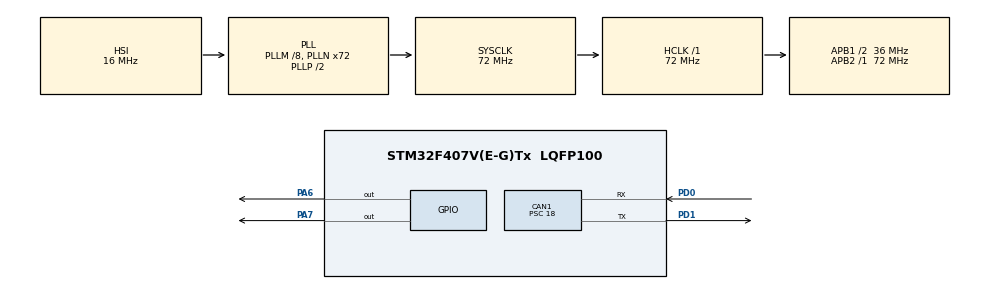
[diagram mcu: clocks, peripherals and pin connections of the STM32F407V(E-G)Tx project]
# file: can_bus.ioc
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CAN1.BS2=CAN_BS2_2TQ
CAN1.CalculateBaudRate=500000
CAN1.CalculateTimeBit=2000
CAN1.CalculateTimeQuantum=500.0
CAN1.Mode=CAN_MODE_LOOPBACK
CAN1.Prescaler=18
Mcu.Family=STM32F4
Mcu.Name=STM32F407V(E-G)Tx
Mcu.Package=LQFP100
NVIC.CAN1_RX0_IRQn=true\:0\:0\:false\:false\:true\:true\:true\:true
NVIC.PriorityGroup=NVIC_PRIORITYGROUP_4
PA6.Signal=GPIO_Output
PA7.Signal=GPIO_Output
PD0.Mode=CAN_Activate
PD0.Signal=CAN1_RX
PD1.Mode=CAN_Activate
PD1.Signal=CAN1_TX
PH0-OSC_IN.Mode=HSE-External-Oscillator
PH0-OSC_IN.Signal=RCC_OSC_IN
PH1-OSC_OUT.Mode=HSE-External-Oscillator
PH1-OSC_OUT.Signal=RCC_OSC_OUT
ProjectManager.HeapSize=0x200
ProjectManager.StackSize=0x400
ProjectManager.TargetToolchain=STM32CubeIDE
RCC.48MHZClocksFreq_Value=36000000
RCC.AHBFreq_Value=72000000
RCC.APB1CLKDivider=RCC_HCLK_DIV2
RCC.APB1Freq_Value=36000000
RCC.APB1TimFreq_Value=72000000
RCC.APB2Freq_Value=72000000
RCC.APB2TimFreq_Value=72000000
RCC.CortexFreq_Value=72000000
RCC.HCLKFreq_Value=72000000
RCC.HSE_VALUE=25000000
RCC.HSI_VALUE=16000000
RCC.LSE_VALUE=32768
RCC.PLLM=8
RCC.PLLN=72
RCC.SYSCLKFreq_VALUE=72000000
RCC.SYSCLKSource=RCC_SYSCLKSOURCE_PLLCLK
RCC.VCOOutputFreq_Value=144000000
board=custom

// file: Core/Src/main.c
/* USER CODE BEGIN Header */
/**
 ******************************************************************************
 * @file           : main.c
 * @brief          : Main program body
 ******************************************************************************
 * @attention
 *
 * Copyright (c) 2025 STMicroelectronics.
 * All rights reserved.
 *
 * This software is licensed under terms that can be found in the LICENSE file
 * in the root directory of this software component.
 * If no LICENSE file comes with this software, it is provided AS-IS.
 *
 ******************************************************************************
 */
/* USER CODE END Header */
#include "main.h"

CAN_HandleTypeDef hcan1;

/* USER CODE BEGIN PV */
uint8_t RxData[8];
CAN_RxHeaderTypeDef RxHeader;
uint8_t TxData[8];
CAN_TxHeaderTypeDef TxHeader;

/* USER CODE END PV */

void SystemClock_Config(void);
static void MX_GPIO_Init(void);
static void MX_CAN1_Init(void);

/* USER CODE BEGIN 0 */
//CAN_TxHeaderTypeDef TxHeader;
//
//
//uint32_t TxMailBox[4];
//uint8_t TxData[8];
//uint8_t RxData[8];
//CAN_RxHeaderTypeDef RxHeader;
//
//uint8_t count = 0;
//uint8_t a[10] = {0};
//void HAL_CANRxFifo0MsgPendingCallback(CAN_HandleTypeDef *hcan){
//	HAL_CAN_GetRxMessage(hcan, CAN_RX_FIFO0, &RxHeader, RxData);
//	count++;
//}

/* USER CODE END 0 */

int main(void)
{

  /* MCU Configuration--------------------------------------------------------*/

  /* Reset of all peripherals, Initializes the Flash interface and the Systick. */
  HAL_Init();

  /* USER CODE BEGIN Init */
	//  a[0] = 0;
  /* USER CODE END Init */

  /* Configure the system clock */
  SystemClock_Config();

  /* Initialize all configured peripherals */
  MX_GPIO_Init();
  MX_CAN1_Init();
  /* USER CODE BEGIN 2 */
	//  HAL_CAN_Start(&hcan1);
	//  HAL_CAN_ActivateNotification(&hcan1, CAN_IT_RX_FIFO0_MSG_PENDING);
	//  TxHeader.DLC = 1;
	//  TxHeader.ExtId = 0;
	//  TxHeader.IDE = CAN_ID_STD;
	//  TxHeader.RTR = CAN_RTR_DATA;
	//  TxHeader.StdId = 0x111;
	//  TxHeader.TransmitGlobalTime = DISABLE;
	//
	//  TxData[0] = 0x01;
	//  TxData[1] = 0x02;
	//  TxData[2] = 0x03;
	//  TxData[3] = 0x04;
	//
	//
	//
	//  if(HAL_CAN_AddTxMessage(&hcan1, &TxHeader, &TxData[0], &TxMailBox[0]) != HAL_OK){
	//	  Error_Handler();
	//  }
	//  if(HAL_CAN_AddTxMessage(&hcan1, &TxHeader, &TxData[1], &TxMailBox[1]) != HAL_OK){
	//  	  Error_Handler();
	//    }
	//  if(HAL_CAN_AddTxMessage(&hcan1, &TxHeader, &TxData[2], &TxMailBox[2]) != HAL_OK){
	//  	  Error_Handler();
	//    }
	//  if(HAL_CAN_AddTxMessage(&hcan1, &TxHeader, &TxData[3], &TxMailBox[3]) != HAL_OK){
	//  	  Error_Handler();
	//    }
	//
	//  CAN_FilterTypeDef canfilterconfig;
	//  canfilterconfig.FilterActivation = CAN_FILTER_ENABLE;
	//  canfilterconfig.FilterBank = 10;
	//  canfilterconfig.FilterFIFOAssignment = CAN_RX_FIFO0;
	//  canfilterconfig.FilterIdHigh = 0x103<<5;
	//  canfilterconfig.FilterIdLow = 0x0000;
	//  canfilterconfig.FilterMaskIdHigh = 0x1<<13;
	//  canfilterconfig.FilterMaskIdLow = 0x0000;
	//  canfilterconfig.FilterMode = CAN_FILTERMODE_IDMASK;
	//  canfilterconfig.FilterScale = CAN_FILTERSCALE_32BIT;
	//  canfilterconfig.SlaveStartFilterBank = 13;
	//
	//  HAL_CAN_ConfigFilter(&hcan1, &canfilterconfig);
	//
	//
	//
	//  HAL_CAN_Stop(&hcan1);

	  if(HAL_CAN_Start(&hcan1) != HAL_OK)
		  Error_Handler();

	  if(HAL_CAN_ActivateNotification(&hcan1, CAN_IT_RX_FIFO0_MSG_PENDING) != HAL_OK)
		  Error_Handler();

	  uint32_t TxMailBoxNum;

	  TxData[0] = 'X';

	  TxHeader.DLC = 1;
	  TxHeader.RTR = CAN_RTR_DATA;
	  TxHeader.IDE = CAN_ID_STD;
	  TxHeader.ExtId = 0x00;
	  TxHeader.StdId = 0x0AD;
	  TxHeader.TransmitGlobalTime = DISABLE;

	  if(HAL_CAN_AddTxMessage(&hcan1, &TxHeader, TxData, &TxMailBoxNum) != HAL_OK)
		  Error_Handler();

	  TxData[0] = 'D';
	  TxData[1] = 'E';
	  TxData[2] = 'S';
	  TxData[3] = 'D';

	  TxHeader.DLC = 4;
	  TxHeader.RTR = CAN_RTR_DATA;
	  TxHeader.IDE = CAN_ID_STD;
	  TxHeader.ExtId = 0x00;
	  TxHeader.StdId = 0x0AF;
	  TxHeader.TransmitGlobalTime = DISABLE;

	  if(HAL_CAN_AddTxMessage(&hcan1, &TxHeader, TxData, &TxMailBoxNum) != HAL_OK)
		  Error_Handler();

	  TxData[0] = 'S';
	  TxData[1] = 'U';
	  TxData[2] = 'N';
	  TxData[3] = 'B';
	  TxData[4] = 'E';
	  TxData[5] = 'A';
	  TxData[6] = 'M';

	  TxHeader.DLC = 7;
	  TxHeader.RTR = CAN_RTR_DATA;
	  TxHeader.IDE = CAN_ID_STD;
	  TxHeader.ExtId = 0x00;
	  TxHeader.StdId = 0x0AB;
	  TxHeader.TransmitGlobalTime = DISABLE;

	  if(HAL_CAN_AddTxMessage(&hcan1, &TxHeader, TxData, &TxMailBoxNum) != HAL_OK)
		  Error_Handler();

  /* USER CODE END 2 */

  /* Infinite loop */
	while (1)
	{

    /* USER CODE BEGIN 3 */
//		HAL_GPIO_WritePin(GPIOD, GPIO_PIN_14, GPIO_PIN_SET);
//		HAL_Delay(1000);
//		HAL_GPIO_WritePin(GPIOD, GPIO_PIN_14, GPIO_PIN_RESET);
//		HAL_Delay(1000);
//		HAL_GPIO_WritePin(GPIOA, GPIO_PIN_7, GPIO_PIN_SET);
//		HAL_Delay(1000);
//		HAL_GPIO_WritePin(GPIOA, GPIO_PIN_7, GPIO_PIN_RESET);
//		HAL_Delay(1000);

	}
  /* USER CODE END 3 */
}

void SystemClock_Config(void)
{
  RCC_OscInitTypeDef RCC_OscInitStruct = {0};
  RCC_ClkInitTypeDef RCC_ClkInitStruct = {0};

  /** Configure the main internal regulator output voltage
  */
  __HAL_RCC_PWR_CLK_ENABLE();
  __HAL_PWR_VOLTAGESCALING_CONFIG(PWR_REGULATOR_VOLTAGE_SCALE1);

  /** Initializes the RCC Oscillators according to the specified parameters
  * in the RCC_OscInitTypeDef structure.
  */
  RCC_OscInitStruct.OscillatorType = RCC_OSCILLATORTYPE_HSI;
  RCC_OscInitStruct.HSIState = RCC_HSI_ON;
  RCC_OscInitStruct.HSICalibrationValue = RCC_HSICALIBRATION_DEFAULT;
  RCC_OscInitStruct.PLL.PLLState = RCC_PLL_ON;
  RCC_OscInitStruct.PLL.PLLSource = RCC_PLLSOURCE_HSI;
  RCC_OscInitStruct.PLL.PLLM = 8;
  RCC_OscInitStruct.PLL.PLLN = 72;
  RCC_OscInitStruct.PLL.PLLP = RCC_PLLP_DIV2;
  RCC_OscInitStruct.PLL.PLLQ = 4;
  if (HAL_RCC_OscConfig(&RCC_OscInitStruct) != HAL_OK)
  {
    Error_Handler();
  }

  /** Initializes the CPU, AHB and APB buses clocks
  */
  RCC_ClkInitStruct.ClockType = RCC_CLOCKTYPE_HCLK|RCC_CLOCKTYPE_SYSCLK
                              |RCC_CLOCKTYPE_PCLK1|RCC_CLOCKTYPE_PCLK2;
  RCC_ClkInitStruct.SYSCLKSource = RCC_SYSCLKSOURCE_PLLCLK;
  RCC_ClkInitStruct.AHBCLKDivider = RCC_SYSCLK_DIV1;
  RCC_ClkInitStruct.APB1CLKDivider = RCC_HCLK_DIV2;
  RCC_ClkInitStruct.APB2CLKDivider = RCC_HCLK_DIV1;

  if (HAL_RCC_ClockConfig(&RCC_ClkInitStruct, FLASH_LATENCY_2) != HAL_OK)
  {
    Error_Handler();
  }
}

static void MX_CAN1_Init(void)
{

  hcan1.Instance = CAN1;
  hcan1.Init.Prescaler = 18;
  hcan1.Init.Mode = CAN_MODE_LOOPBACK;
  hcan1.Init.SyncJumpWidth = CAN_SJW_1TQ;
  hcan1.Init.TimeSeg1 = CAN_BS1_1TQ;
  hcan1.Init.TimeSeg2 = CAN_BS2_2TQ;
  hcan1.Init.TimeTriggeredMode = DISABLE;
  hcan1.Init.AutoBusOff = DISABLE;
  hcan1.Init.AutoWakeUp = DISABLE;
  hcan1.Init.AutoRetransmission = DISABLE;
  hcan1.Init.ReceiveFifoLocked = DISABLE;
  hcan1.Init.TransmitFifoPriority = DISABLE;
  if (HAL_CAN_Init(&hcan1) != HAL_OK)
  {
    Error_Handler();
  }

}

static void MX_GPIO_Init(void)
{
  GPIO_InitTypeDef GPIO_InitStruct = {0};

  /* GPIO Ports Clock Enable */
  __HAL_RCC_GPIOH_CLK_ENABLE();
  __HAL_RCC_GPIOA_CLK_ENABLE();
  __HAL_RCC_GPIOD_CLK_ENABLE();

  /*Configure GPIO pin Output Level */
  HAL_GPIO_WritePin(GPIOA, GPIO_PIN_6|GPIO_PIN_7, GPIO_PIN_RESET);

  /*Configure GPIO pins : PA6 PA7 */
  GPIO_InitStruct.Pin = GPIO_PIN_6|GPIO_PIN_7;
  GPIO_InitStruct.Mode = GPIO_MODE_OUTPUT_PP;
  GPIO_InitStruct.Pull = GPIO_NOPULL;
  GPIO_InitStruct.Speed = GPIO_SPEED_FREQ_LOW;
  HAL_GPIO_Init(GPIOA, &GPIO_InitStruct);

}

/* USER CODE BEGIN 4 */
void HAL_CAN_RxFifo0MsgPendingCallback(CAN_HandleTypeDef *hcan)
{
	if(HAL_CAN_GetRxMessage(&hcan1, CAN_RX_FIFO0, &RxHeader, RxData) != HAL_OK)
		Error_Handler();
}
/* USER CODE END 4 */

void Error_Handler(void)
{
	__disable_irq();
	while (1)
	{
	}
}
